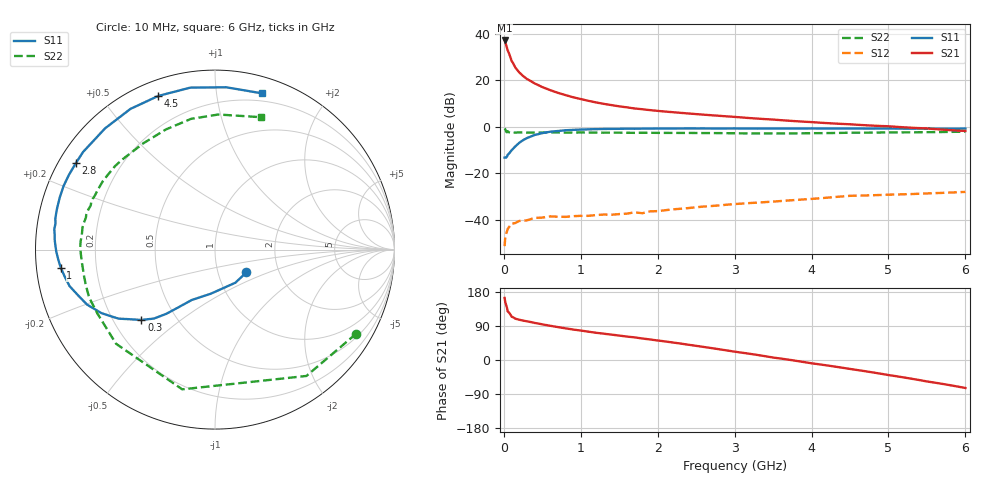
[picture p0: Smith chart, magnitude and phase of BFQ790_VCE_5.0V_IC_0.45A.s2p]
! (c) 2015  Infineon Technologies AG, Munich
! Infineon Technologies  Discrete & RF Semiconductors
! BFQ790
! VCE =  5.0 V,  IC = 0.45 A
! Common Emitter S-Parameters:  May 2015
# GHz  S  MA  R  50
!  f  S11  S21  S12  S22
! GHz  MAG  ANG  MAG  ANG  MAG  ANG  MAG  ANG
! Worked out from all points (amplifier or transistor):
!   77 points, 10 MHz to 6 GHz, reference 50 ohm
!   highest |S21| = 37.0 dB at 10 MHz (marker M1)
!   |S21| within 3 dB of that: start of sweep to 38.84 MHz
!   unconditionally stable (mu >= 1): 134.4 MHz to end of sweep
!   at 130 MHz: K = 0.97, MSG = 34.1 dB, |S12| = -41.5 dB
!   at 2.2 GHz: K = 1.40, MAG = 17.1 dB, |S12| = -35.5 dB
!   at 6 GHz: K = 1.14, MAG = 10.8 dB, |S12| = -28.0 dB
!   S11 on the Smith chart (normalised r, x): 10 MHz: 1.37, -0.37; 300 MHz: 0.32, -0.37; 1 GHz: 0.07, -0.06; 2.8 GHz: 0.05, +0.28; 4.5 GHz: 0.07, +0.69; 6 GHz: 0.13, +1.33
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0.01  0.2162 -36.1  71.04 163.9  0.0027 69.7  0.9155 -30.8
0.02  0.2166 -58.5  64.44 151.4  0.0045 60.9  0.869 -54.1
0.05  0.247 -95.5  43.57 128.2  0.0063 34.9  0.7996 -103.2
0.1  0.3087 -114.7  26.01 114.4  0.0082 23.5  0.7609 -136.4
0.15  0.3766 -122.0  18.54 109.0  0.0085 23.7  0.7458 -151.5
0.2  0.4494 -127.2  14.65 106.3  0.0094 25.3  0.7502 -159.2
0.25  0.5128 -131.5  12.25 104.0  0.0095 20.3  0.7466 -164.4
0.3  0.5675 -136.3  10.57 102.1  0.0097 18.1  0.7444 -168.4
0.4  0.6608 -144.4  8.475 97.9  0.011 17.5  0.7447 -173.8
0.5  0.7252 -150.8  7.082 94.0  0.0111 14.1  0.7475 -177.7
0.6  0.7756 -156.7  6.104 90.4  0.0118 15.0  0.7508 179.0
0.8  0.8354 -165.9  4.772 83.6  0.0115 11.7  0.7467 174.4
1  0.8647 -173.2  3.914 77.7  0.0121 15.9  0.7485 170.7
1.1  0.8752 -176.4  3.581 74.7  0.0121 17.8  0.7473 168.9
1.5  0.8972 174.6  2.73 64.4  0.0132 18.3  0.7417 163.1
2.1  0.9103 163.3  2.107 48.9  0.016 19.2  0.7332 154.3
2.8  0.9128 148.2  1.709 28.3  0.0203 13.1  0.7258 140.2
3.1  0.911 141.3  1.571 19.2  0.0222 10.3  0.7169 133.7
4.1  0.9116 118.9  1.219 -11.4  0.0288 -5.4  0.7242 109.8
4.5  0.9126 110.3  1.123 -23.6  0.0326 -13.0  0.7405 100.4
5.1  0.9081 96.2  0.991 -42.8  0.0348 -25.9  0.7524 86.6
6  0.9089 73.4  0.807 -73.9  0.0396 -46.9  0.7803 70.9
